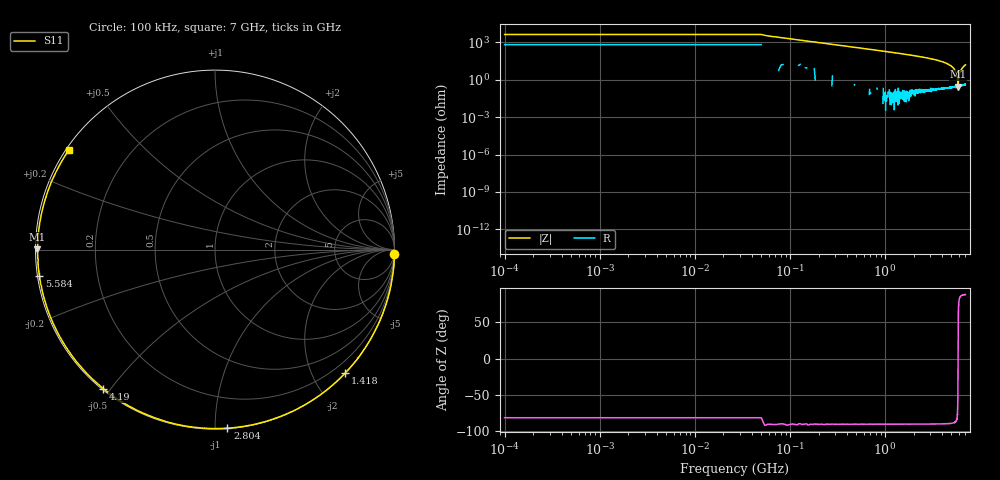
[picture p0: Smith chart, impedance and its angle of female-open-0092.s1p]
! This is a Touchstone .s1p format file
! It should be saved with .s1p extension
! HEWLETT PACKARD,8720D,0,7.74
! Date = 20 Mar 2018
! Time = 22:40:10
! S11 measured = FALSE
! S21 measured = FALSE
! S12 measured = FALSE
! S22 measured = TRUE
! Start frequency = 0.050000000 GHz
! Centre frequency  = 3.524999936 GHz
! Stop frequency  = 7.000000000 GHz
! IF bandwidth = 300 Hz
! Smoothing = OFF
! Smoothing aperture = 1.000000 %
! Averaging = OFF
! Averaging factor = 16
! Source power = On
! Source power = Auto mode
! Output power level = 5.000000 dBm
! Retrace power = Off
! Testset switching = Continuous
! Number of sweeps for test set switching (0=hold, 1=continuous,2-999 = number of sweeps) = 1
! Step sweep = On (check)
! List frequency sweep = Off (check)
! IFBW setting for a list-frequency table in swept list mode = Disabled (Check)
! Power setting for a list-frequency table in swept list mode = Disabled (Check)
! Measurement mode = Chop A and B
! Port extensions = OFF
! Port extension 1 = 0.000000 ps
! Port extension 2 = 41.370001 ps
! Points  = 1601
! Calibration kit = 3.5 mm D
! Calibration = S22 1-port
! Power = 5.000000 dBm
! Frequency magS22 angS22
! Magnitudes are in log form
! Angles are in degrees
# MHz S DB R 50
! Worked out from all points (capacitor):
!   1602 points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, 100 kHz to 7 GHz, reference 50 ohm
!   read as one part to ground: C = 847 fF near 80.41 MHz
!   lowest |Z| = 274 mohm at 5.866 GHz (marker M1)
!   series resonance near 5.864 GHz, so ESL is about 870 pH
!   S11 on the Smith chart (normalised r, x): 100 kHz: 13, -82; 1.418 GHz: 0.00, -2.51; 2.804 GHz: 0.00, -1.07; 4.19 GHz: 0.00, -0.48; 5.584 GHz: 0.01, -0.07; 7 GHz: 0.01, +0.31
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0.1  -0.03 -1.4
71.71875  0.00 -2.1
423.5625  0.00 -13.0
640.75  0.01 -19.6
875.3125  0.00 -26.8
1157.656  0.00 -35.4
1418.281  -0.00 -43.4
1752.75  -0.01 -53.7
1987.312  -0.01 -60.9
2195.812  -0.01 -67.3
2417.344  -0.02 -74.1
2625.844  -0.02 -80.5
2803.938  -0.03 -86.0
3160.125  -0.03 -97.0
3503.281  -0.04 -107.5
3837.75  -0.05 -117.8
4189.594  -0.05 -128.7
4376.375  -0.07 -134.5
4615.281  -0.07 -141.8
4828.125  -0.07 -148.4
5040.969  -0.08 -154.9
5253.812  -0.09 -161.4
5583.938  -0.09 -171.5
5866.281  -0.09 179.9
6126.906  -0.11 172.1
6535.219  -0.12 159.8
6826.25  -0.13 151.0
7000  -0.13 145.8
